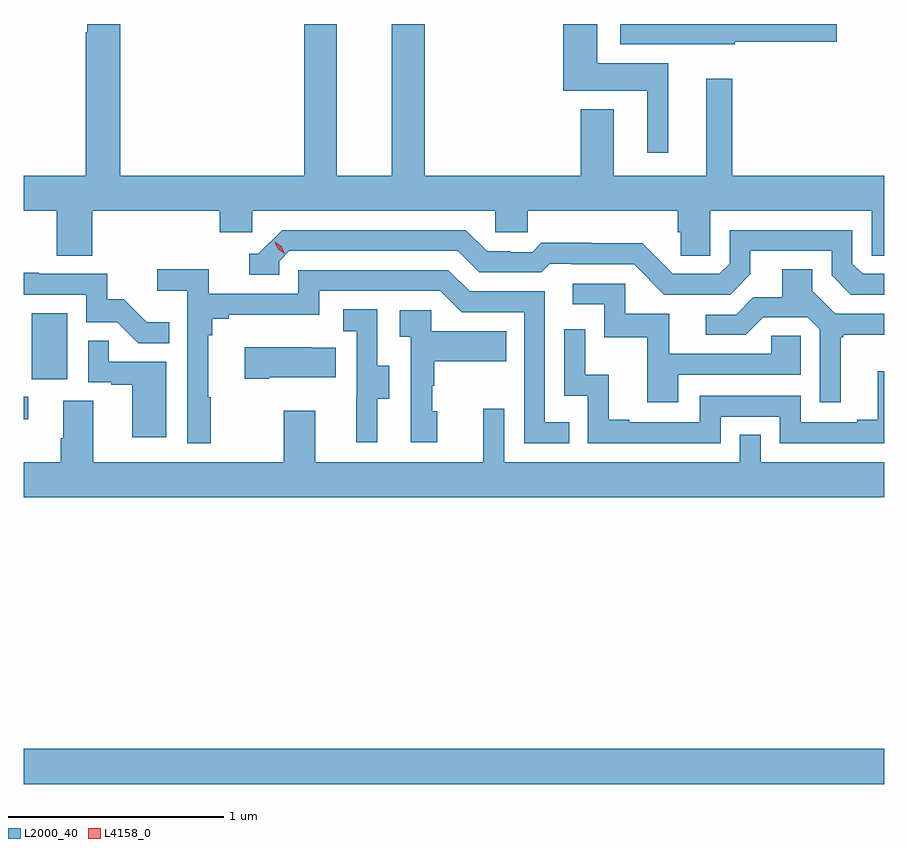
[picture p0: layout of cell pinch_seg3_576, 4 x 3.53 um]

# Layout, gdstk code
import gdstk
lib = gdstk.Library(unit=1e-6, precision=1e-09)
def R(c, l, rs):  # rectangles x0, y0, x1, y1
    for r in rs: c.add(gdstk.rectangle(r[:2], r[2:], *l))
def P(c, l, *ps):  # polygons
    for p in ps: c.add(gdstk.Polygon(p, *l))
L2000_40 = (2000, 40)
L4158_0 = (4158, 0)

pinch_seg3_576 = lib.new_cell('pinch_seg3_576')
R(pinch_seg3_576, L2000_40, [(1065.049,690.26,1069.049,690.424), (1065.049,691.956,1065.07,692.061), (1065.086,692.142,1065.25,692.449)])
P(pinch_seg3_576, L2000_40, [(1068.24,692.924),(1068.99,692.924),(1068.99,692.716),(1069.049,692.716),(1069.049,693.088),(1068.343,693.088),(1068.343,693.538),(1068.221,693.538),(1068.221,693.088),(1067.791,693.088),(1067.791,693.397),(1067.639,693.397),(1067.639,693.088),(1066.913,693.088),(1066.913,693.793),(1066.76,693.793),(1066.76,693.088),(1066.504,693.088),(1066.504,693.793),(1066.352,693.793),(1066.352,693.088),(1065.497,693.088),(1065.497,693.793),(1065.343,693.793),(1065.343,693.755),(1065.337,693.755),(1065.337,693.088),(1065.049,693.088),(1065.049,692.924),(1065.203,692.924),(1065.203,692.716),(1065.368,692.716),(1065.368,692.924),(1065.959,692.924),(1065.959,692.826),(1066.11,692.826),(1066.11,692.924),(1067.241,692.924),(1067.241,692.826),(1067.391,692.826),(1067.391,692.924),(1068.089,692.924),(1068.089,692.826),(1068.103,692.826),(1068.103,692.716),(1068.24,692.716)],
  [(1068.046,693.61),(1067.716,693.61),(1067.716,693.793),(1067.558,693.793),(1067.558,693.482),(1067.948,693.482),(1067.948,693.195),(1068.046,693.195)],
  [(1068.354,693.71),(1068.829,693.71),(1068.829,693.793),(1067.823,693.793),(1067.823,693.699),(1068.135,693.699),(1068.135,693.698),(1068.354,693.698)],
  [(1068.427,692.629),(1068.427,692.739),(1068.804,692.739),(1068.804,692.625),(1068.894,692.535),(1069.049,692.535),(1069.049,692.631),(1068.948,692.631),(1068.9,692.679),(1068.9,692.835),(1068.33,692.835),(1068.33,692.679),(1068.282,692.631),(1068.066,692.631),(1067.924,692.773),(1067.688,692.773),(1067.688,692.776),(1067.455,692.776),(1067.413,692.733),(1067.31,692.733),(1067.31,692.736),(1067.203,692.736),(1067.104,692.835),(1066.251,692.835),(1066.14,692.724),(1066.097,692.724),(1066.097,692.628),(1066.236,692.628),(1066.236,692.691),(1066.284,692.739),(1067.067,692.739),(1067.166,692.64),(1067.455,692.64),(1067.494,692.679),(1067.593,692.679),(1067.593,692.676),(1067.886,692.676),(1068.027,692.535),(1068.333,692.535)],
  [(1065.919,692.057),(1065.907,692.057),(1065.907,692.345),(1065.926,692.345),(1065.926,692.422),(1066.003,692.422),(1066.003,692.441),(1066.422,692.441),(1066.422,692.553),(1066.986,692.553),(1067.085,692.454),(1067.376,692.454),(1067.376,691.845),(1067.585,691.845),(1067.585,691.941),(1067.472,691.941),(1067.472,692.55),(1067.122,692.55),(1067.023,692.649),(1066.326,692.649),(1066.326,692.538),(1065.908,692.538),(1065.908,692.654),(1065.669,692.654),(1065.669,692.552),(1065.81,692.552),(1065.81,691.845),(1065.919,691.845)],
  [(1068.847,692.337),(1068.859,692.337),(1068.859,692.348),(1069.049,692.348),(1069.049,692.445),(1068.822,692.445),(1068.715,692.552),(1068.715,692.654),(1068.575,692.654),(1068.575,692.522),(1068.44,692.522),(1068.36,692.442),(1068.219,692.442),(1068.219,692.349),(1068.406,692.349),(1068.487,692.43),(1068.693,692.43),(1068.75,692.373),(1068.75,692.034),(1068.847,692.034)],
  [(1065.725,692.407),(1065.621,692.407),(1065.514,692.514),(1065.438,692.514),(1065.438,692.631),(1065.119,692.631),(1065.119,692.636),(1065.049,692.636),(1065.049,692.535),(1065.339,692.535),(1065.339,692.406),(1065.483,692.406),(1065.581,692.308),(1065.725,692.308)],
  [(1068.091,692.163),(1068.66,692.163),(1068.66,692.343),(1068.523,692.343),(1068.523,692.259),(1068.049,692.259),(1068.049,692.445),(1067.844,692.445),(1067.844,692.586),(1067.601,692.586),(1067.601,692.49),(1067.748,692.49),(1067.748,692.337),(1067.947,692.337),(1067.947,692.034),(1068.091,692.034)],
  [(1066.693,692.05),(1066.747,692.05),(1066.747,692.205),(1066.692,692.205),(1066.692,692.468),(1066.533,692.468),(1066.533,692.365),(1066.596,692.365),(1066.596,692.061),(1066.595,692.061),(1066.595,691.848),(1066.693,691.848)],
  [(1066.972,691.992),(1066.947,691.992),(1066.947,692.111),(1066.957,692.111),(1066.957,692.225),(1067.291,692.225),(1067.291,692.365),(1066.944,692.365),(1066.944,692.463),(1066.797,692.463),(1066.797,692.339),(1066.848,692.339),(1066.848,691.848),(1066.972,691.848)],
  [(1068.288,691.968),(1068.564,691.968),(1068.564,691.845),(1069.049,691.845),(1069.049,692.179),(1069.019,692.179),(1069.019,691.954),(1068.923,691.954),(1068.923,691.941),(1068.66,691.941),(1068.66,692.064),(1068.192,692.064),(1068.192,691.941),(1067.863,691.941),(1067.863,691.954),(1067.768,691.954),(1067.768,692.162),(1067.658,692.162),(1067.658,692.374),(1067.562,692.374),(1067.562,692.064),(1067.67,692.064),(1067.67,691.845),(1068.288,691.845)],
  [(1065.712,692.223),(1065.443,692.223),(1065.443,692.321),(1065.348,692.321),(1065.348,692.127),(1065.455,692.127),(1065.455,692.115),(1065.554,692.115),(1065.554,691.872),(1065.712,691.872)],
  [(1066.189,692.15),(1066.499,692.15),(1066.499,692.287),(1066.391,692.287),(1066.391,692.29),(1066.077,692.29),(1066.077,692.143),(1066.189,692.143)],
  [(1069.049,691.756),(1068.474,691.756),(1068.474,691.883),(1068.378,691.883),(1068.378,691.756),(1067.283,691.756),(1067.283,692.005),(1067.186,692.005),(1067.186,691.756),(1066.405,691.756),(1066.405,691.996),(1066.258,691.996),(1066.258,691.756),(1065.373,691.756),(1065.373,692.042),(1065.233,692.042),(1065.233,691.868),(1065.221,691.868),(1065.221,691.756),(1065.049,691.756),(1065.049,691.592),(1069.049,691.592)])
P(pinch_seg3_576, L4158_0, [(1066.262,692.726),(1066.231,692.747),(1066.216,692.779),(1066.216,692.78),(1066.216,692.78),(1066.246,692.76),(1066.262,692.727),(1066.262,692.726)])

lib.write_gds('pinch_seg3_576.gds')
